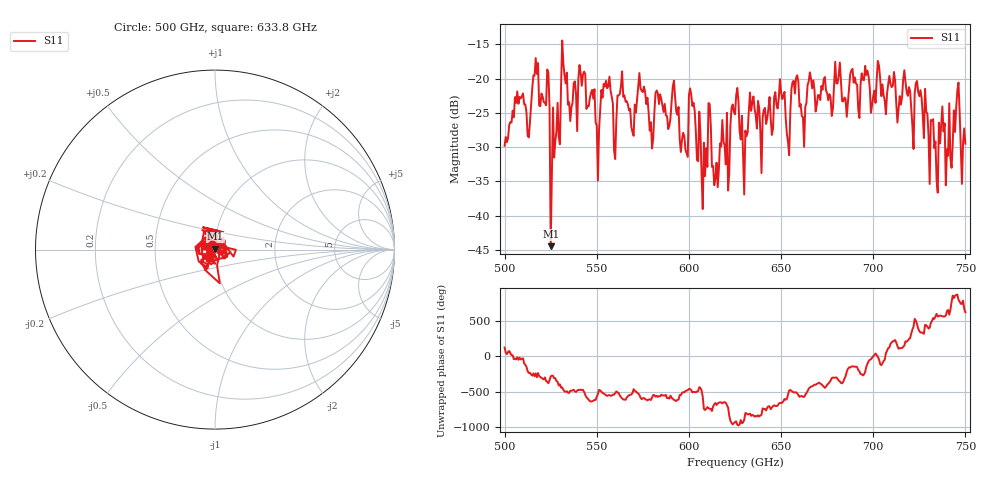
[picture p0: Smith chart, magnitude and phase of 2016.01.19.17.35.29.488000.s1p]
!Created with skrf (http://scikit-rf.org).
# GHz S RI R 50.0
!freq ReS11 ImS11
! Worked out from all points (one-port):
!   401 points, 500 GHz to 750 GHz, reference 50 ohm
!   lowest |S11| = -44.5 dB at 525 GHz (marker M1), VSWR 1.01, Z = 50.2 + j0.577 ohm
!   |S11| at or under -10 dB: start of sweep to end of sweep
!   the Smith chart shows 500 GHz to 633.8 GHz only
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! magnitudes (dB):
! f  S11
! 500 GHz  -29.8
! 506.9 GHz  -21.9
! 513.1 GHz  -28.6
! 516.9 GHz  -17.0
! 523.1 GHz  -18.7
! 525 GHz  -44.5
! 526.2 GHz  -24.2
! 531.2 GHz  -14.4
! 541.9 GHz  -21.0
! 550.6 GHz  -34.9
! 562.5 GHz  -22.3
! 593.8 GHz  -25.3
! 598.1 GHz  -30.4
! 601.2 GHz  -22.4
! 607.5 GHz  -39.0
! 610.6 GHz  -23.6
! 615 GHz  -32.3
! 625 GHz  -25.2
! 630.6 GHz  -27.6
! 633.8 GHz  -24.7
! 650.6 GHz  -23.0
! 653.8 GHz  -29.2
! 656.2 GHz  -20.5
! 687.5 GHz  -19.4
! 718.8 GHz  -22.5
! 733.8 GHz  -29.2
! 745 GHz  -24.3
! 750 GHz  -29.5
